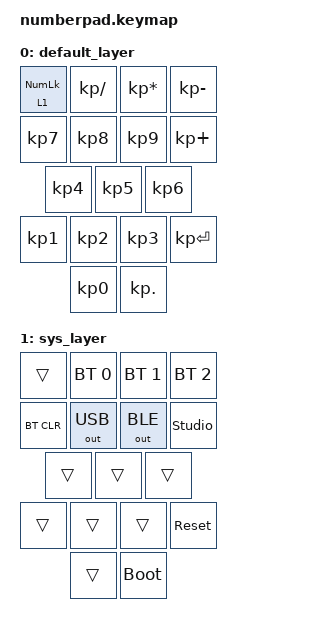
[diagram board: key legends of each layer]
/*
 * numberpad keymap
 *
 * Layer 0: standard numpad, in transform order:
 *   NumLock  /  *  -
 *   7        8  9  +      (2u)
 *   4        5  6
 *   1        2  3  Enter  (2u)
 *   0 (2u)      .
 *
 * Layer 1: hold NumLock. Radio / flashing / Studio unlock, since this PCB has
 * no reset button (module RST is not broken out).
 */
#include <behaviors.dtsi>
#include <dt-bindings/zmk/keys.h>
#include <dt-bindings/zmk/bt.h>
#include <dt-bindings/zmk/outputs.h>

/ {
    keymap {
        compatible = "zmk,keymap";

        default_layer {
            bindings = <
&lt 1 KP_NUMLOCK  &kp KP_SLASH  &kp KP_ASTERISK  &kp KP_MINUS
&kp KP_N7        &kp KP_N8     &kp KP_N9        &kp KP_PLUS
&kp KP_N4        &kp KP_N5     &kp KP_N6
&kp KP_N1        &kp KP_N2     &kp KP_N3        &kp KP_ENTER
&kp KP_N0                       &kp KP_DOT
            >;
        };

        sys_layer {
            bindings = <
&trans  &bt BT_SEL 0  &bt BT_SEL 1  &bt BT_SEL 2
&bt BT_CLR  &out OUT_USB  &out OUT_BLE  &studio_unlock
&trans  &trans  &trans
&trans  &trans  &trans  &sys_reset
&trans                  &bootloader
            >;
        };
    };
};
